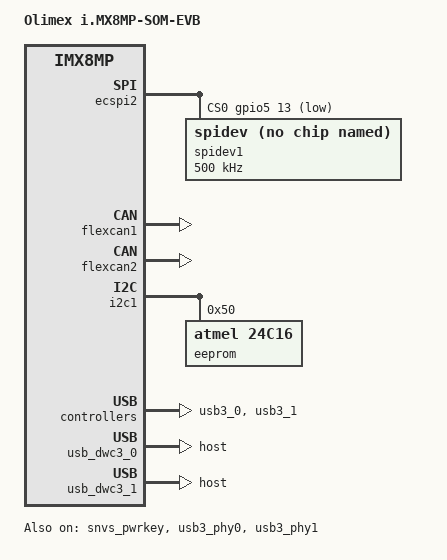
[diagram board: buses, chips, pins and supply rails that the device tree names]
// SPDX-License-Identifier: (GPL-2.0+ OR MIT)
/*
 * Copyright 2019 NXP
 * Copyright 2026 Zoltan HERPAI <wigyori@uid0.hu>
 */

/dts-v1/;

#include "imx8mp-olimex-som.dtsi"

/ {
	compatible = "olimex,imx8mp-som-evb", "fsl,imx8mp";
	model = "Olimex i.MX8MP-SOM-EVB";

	chosen {
		stdout-path = &uart2;
	};
};

&ecspi2 {
	#address-cells = <1>;
	#size-cells = <0>;
	cs-gpios = <&gpio5 13 GPIO_ACTIVE_LOW>;
	pinctrl-names = "default";
	pinctrl-0 = <&pinctrl_ecspi2 &pinctrl_ecspi2_cs>;

	status = "okay";

	spidev1: spi@0 {
		reg = <0>;
		compatible = "rohm,dh2228fv";
		spi-max-frequency = <500000>;
	};
};

&flexcan1 {
	pinctrl-names = "default";
	pinctrl-0 = <&pinctrl_flexcan1>;

	status = "okay";
};

&flexcan2 {
	pinctrl-names = "default";
	pinctrl-0 = <&pinctrl_flexcan2>;

	status = "okay";
};

&i2c1 {
	eeprom: eeprom@50 {
		compatible = "atmel,24c16";
		reg = <0x50>;
		pagesize = <16>;
	};
};

&snvs_pwrkey {
	status = "okay";
};

&usb3_phy0 {
	fsl,phy-tx-preemp-amp-tune-microamp = <1800>;
	fsl,phy-tx-vref-tune-percent = <122>;

	status = "okay";
};

&usb3_0 {
	status = "okay";
};

&usb_dwc3_0 {
	dr_mode = "host";

	status = "okay";
};

&usb3_phy1 {
	vbus-supply = <&reg_usb1_host_vbus>;
	fsl,phy-tx-preemp-amp-tune-microamp = <1800>;
	fsl,phy-tx-vref-tune-percent = <116>;

	status = "okay";
};

&usb3_1 {
	status = "okay";
};

&usb_dwc3_1 {
	dr_mode = "host";

	status = "okay";
};

&iomuxc {
	pinctrl_ecspi2: ecspi2grp {
		fsl,pins = <
			MX8MP_IOMUXC_ECSPI2_SCLK__ECSPI2_SCLK		0x82
			MX8MP_IOMUXC_ECSPI2_MOSI__ECSPI2_MOSI		0x82
			MX8MP_IOMUXC_ECSPI2_MISO__ECSPI2_MISO		0x82
		>;
	};

	pinctrl_ecspi2_cs: ecspi2csgrp {
		fsl,pins = <
			MX8MP_IOMUXC_ECSPI2_SS0__GPIO5_IO13		0x40000
		>;
	};

	pinctrl_flexcan1: flexcan1grp {
		fsl,pins = <
			MX8MP_IOMUXC_SPDIF_RX__CAN1_RX		0x154
			MX8MP_IOMUXC_SPDIF_TX__CAN1_TX		0x154
		>;
	};

	pinctrl_flexcan2: flexcan2grp {
		fsl,pins = <
			MX8MP_IOMUXC_SAI5_MCLK__CAN2_RX		0x154
			MX8MP_IOMUXC_SAI5_RXD3__CAN2_TX		0x154
		>;
	};

	pinctrl_flexcan1_reg: flexcan1reggrp {
		fsl,pins = <
			MX8MP_IOMUXC_SPDIF_EXT_CLK__GPIO5_IO05	0x154	/* CAN1_STBY */
		>;
	};

	pinctrl_flexcan2_reg: flexcan2reggrp {
		fsl,pins = <
			MX8MP_IOMUXC_SAI2_MCLK__GPIO4_IO27	0x154	/* CAN2_STBY */
		>;
	};
};
